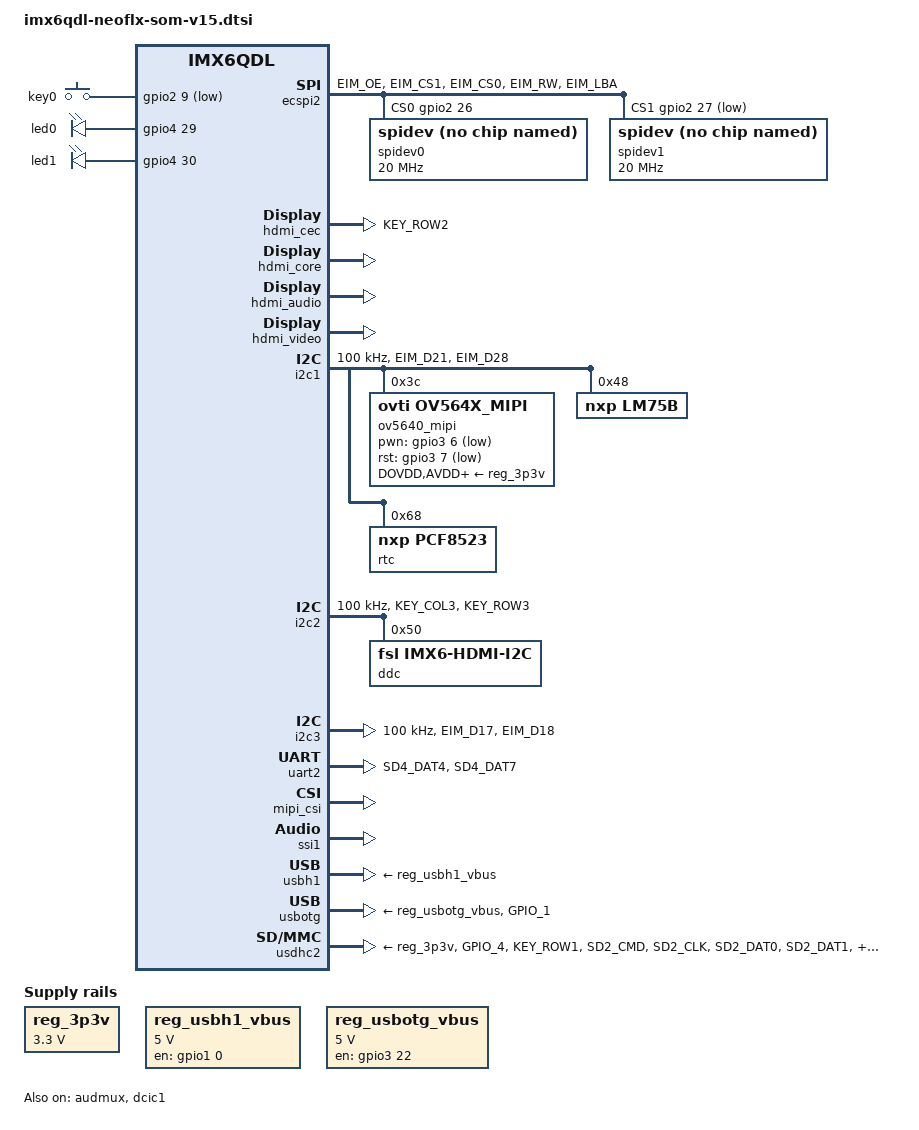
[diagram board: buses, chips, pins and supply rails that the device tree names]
/*
 * Copyright (C) 2016 Yoonki Kim
 *
 * Copyright 2016 MDS Technology co,ltd. All Rights Reserved.
 *
 * This file is dual-licensed: you can use it either under the terms
 * of the GPL or the X11 license, at your option. Note that this dual
 * licensing only applies to this file, and not this project as a
 * whole.
 *
 *  a) This file is free software; you can redistribute it and/or
 *     modify it under the terms of the GNU General Public License as
 *     published by the Free Software Foundation; either version 2 of the
 *     License.
 *
 *     This file is distributed in the hope that it will be useful
 *     but WITHOUT ANY WARRANTY; without even the implied warranty of
 *     MERCHANTABILITY or FITNESS FOR A PARTICULAR PURPOSE.  See the
 *     GNU General Public License for more details.
 *
 * Or, alternatively
 *
 *  b) Permission is hereby granted, free of charge, to any person
 *     obtaining a copy of this software and associated documentation
 *     files (the "Software"), to deal in the Software without
 *     restriction, including without limitation the rights to use
 *     copy, modify, merge, publish, distribute, sublicense, and/or
 *     sell copies of the Software, and to permit persons to whom the
 *     Software is furnished to do so, subject to the following
 *     conditions:
 *
 *     The above copyright notice and this permission notice shall be
 *     included in all copies or substantial portions of the Software.
 *
 *     THE SOFTWARE IS PROVIDED , WITHOUT WARRANTY OF ANY KIND
 *     EXPRESS OR IMPLIED, INCLUDING BUT NOT LIMITED TO THE WARRANTIES
 *     OF MERCHANTABILITY, FITNESS FOR A PARTICULAR PURPOSE AND
 *     NONINFRINGEMENT. IN NO EVENT SHALL THE AUTHORS OR COPYRIGHT
 *     HOLDERS BE LIABLE FOR ANY CLAIM, DAMAGES OR OTHER LIABILITY
 *     WHETHER IN AN ACTION OF CONTRACT, TORT OR OTHERWISE, ARISING
 *     FROM, OUT OF OR IN CONNECTION WITH THE SOFTWARE OR THE USE OR
 *     OTHER DEALINGS IN THE SOFTWARE.
 */
#include "imx6qdl-solidrun-microsom-v15.dtsi"
#include "imx6qdl-solidrun-microsom-ar8035.dtsi"
#include <dt-bindings/gpio/gpio.h>
#include <dt-bindings/input/input.h>

/ {
	aliases {
		mxcfb0 = &mxcfb1;
		//mxcfb1 = &mxcfb2;
	};

	chosen {
		stdout-path = &uart1;
	};

  gpio-keys {
    compatible = "gpio-keys";
    pinctrl-names = "default";
    pinctrl-0 = <&pinctrl_neoflx10_gpio_keys>;

    key0 {
      label = "key0";
      gpios = <&gpio2 9 GPIO_ACTIVE_LOW>;
      gpio-key,wakeup;
      linux,code = <KEY_FN>;
    };
  };

  leds {
    compatible = "gpio-leds";
    pinctrl-names = "default";
    pinctrl-0 = <&pinctrl_neoflx10_gpio_leds>;

    led0: led0 {
      label = "led0";
      gpios = <&gpio4 29 GPIO_ACTIVE_HIGH>;
      default-statue = "on";
      linux,default-trigger = "heartbeat";
    };

    led1: led1 {
      label = "led1";
      gpios = <&gpio4 30 GPIO_ACTIVE_HIGH>;
      default-state = "off";
    };
  };

	regulators {
		compatible = "simple-bus";

		reg_3p3v: 3p3v {
			compatible = "regulator-fixed";
			regulator-name = "3P3V";
			regulator-min-microvolt = <3300000>;
			regulator-max-microvolt = <3300000>;
			regulator-always-on;
		};

		reg_usbh1_vbus: usb-h1-vbus {
			compatible = "regulator-fixed";
			enable-active-high;
			gpio = <&gpio1 0 0>;
			pinctrl-names = "default";
			pinctrl-0 = <&pinctrl_neoflx10_usbh1_vbus>;
			regulator-name = "usb_h1_vbus";
			regulator-min-microvolt = <5000000>;
			regulator-max-microvolt = <5000000>;
		};

		reg_usbotg_vbus: usb-otg-vbus {
			compatible = "regulator-fixed";
			enable-active-high;
			gpio = <&gpio3 22 0>;
			pinctrl-names = "default";
			pinctrl-0 = <&pinctrl_neoflx10_usbotg_vbus>;
			regulator-name = "usb_otg_vbus";
			regulator-min-microvolt = <5000000>;
			regulator-max-microvolt = <5000000>;
		};
		
	};

	mxcfb1: fb@0 {
		compatible = "fsl,mxc_sdc_fb";
		disp_dev = "hdmi";
		interface_pix_fmt = "RGB24";
		mode_str ="1920x1080M@60";
		default_bpp = <24>;
		int_clk = <0>;
		late_init = <0>;
		status = "okay";
	};
/*
	mxcfb2: fb@1 {
		compatible = "fsl,mxc_sdc_fb";
		disp_dev = "ldb";
		interface_pix_fmt = "RGB666";
		default_bpp = <16>;
		int_clk = <0>;
		late_init = <0>;
		status = "okay";
	};
*/
	sound-hdmi {
		compatible = "fsl,imx6q-audio-hdmi",
				     "fsl,imx-audio-hdmi";
		model = "imx-audio-hdmi";
		hdmi-controller = <&hdmi_audio>;
	};

	v4l2_cap_0 {
		compatible = "fsl,imx6q-v4l2-capture";
		ipu_id = <0>;
		csi_id = <1>;
		mclk_source = <0>;
		//mipi_camera = <1>;
		//default_input = <1>;
		status = "okay";
	};

	v4l2_out {
		compatible = "fsl,mxc_v4l2_output";
		status = "okay";
	};
};

&audmux {
	status = "okay";
};

&dcic1 {
	dcic_id = <0>;
	dcic_mux = "dcic-hdmi";
	status = "okay";
};

&ecspi2 {
	fsl,spi-num-chipselects = <2>;
	cs-gpios = <&gpio2 26 0>, <&gpio2 27 1>;
	pinctrl-names = "default";
	pinctrl-0 = <&pinctrl_neoflx10_ecspi2>;
	status = "okay";

	spidev0: spi@0 {
		compatible = "spidev";
		reg = <0>;
		spi-max-frequency = <20000000>;
	};

	spidev1: spi@1 {
		compatible = "spidev";
		reg = <1>;
		spi-max-frequency = <20000000>;
	};
};

&gpc {
	fsl,cpu_pupscr_sw2iso = <0xf>;
	fsl,cpu_pupscr_sw = <0xf>;
	fsl,cpu_pdnscr_iso2sw = <0x1>;
	fsl,cpu_pdnscr_iso = <0x1>;
};

&hdmi_cec {
        pinctrl-names = "default";
        pinctrl-0 = <&pinctrl_neoflx10_hdmi>;
        status = "okay";
};

&hdmi_core {
	ipu_id = <0>;
	disp_id = <0>;
	status = "okay";
};

&hdmi_audio {
	status = "okay";
};

&hdmi_video {
	fsl,phy_reg_vlev = <0x0294>;
	fsl,phy_reg_cksymtx = <0x800d>;
	status = "okay";
};



&i2c1 {
	clock-frequency = <100000>;
	pinctrl-names = "default";
	pinctrl-0 = <&pinctrl_neoflx10_i2c1>;
	status = "okay";

	ov5640_mipi: ov5640_mipi@3c {
		compatible = "ovti,ov564x_mipi";
		reg = <0x3c>;
		pinctrl-names = "default";
		pinctrl-0 = <&pinctrl_neoflx10_mipi>;
		clocks = <&clks IMX6QDL_CLK_CKO2>;
		clock-names = "csi_mclk";

		DOVDD-supply = <&reg_3p3v>;
		AVDD-supply = <&reg_3p3v>;
		DVDD-supply = <&reg_3p3v>;

		pwn-gpios = <&gpio3 6 1>;
		rst-gpios = <&gpio3 7 1>;
		ipu_id = <0>;
		csi_id = <1>;
		mclk = <24000000>;
		mclk_source = <0>;
	};

	lm75b: lm75b@48 {
  		compatible = "nxp,lm75b";
		reg = <0x48>;
	};

	rtc: pcf8523@68 {
		compatible = "nxp,pcf8523";
		reg = <0x68>;
		nxp,12p5_pf;
	};
};

&i2c2 {
	clock-frequency = <100000>;
	pinctrl-names = "default";
	pinctrl-0 = <&pinctrl_neoflx10_i2c2>;
	status = "okay";

	ddc: imx6_hdmi_i2c@50 {
		compatible = "fsl,imx6-hdmi-i2c";
		reg = <0x50>;
	};
};

&i2c3 {
	clock-frequency = <100000>;
	pinctrl-names = "default";
	pinctrl-0 = <&pinctrl_neoflx10_i2c3>;
	status = "okay";
};

&uart2 {
  pinctrl-names = "default";
  pinctrl-0 = <&pinctrl_neoflx10_uart2>;
//fsl,uart-has-rtscts;
  status = "okay";
};

&iomuxc {
	pinctrl-names = "default";
	pinctrl-0 = <&pinctrl_hog>;

	neoflx10 {

	pinctrl_hog: hoggrp {
	  /*
	   * Notice the gpioX and GPIO (Y,Z) mapping forumla :
	   * X = (Y-1) * 32 + Z
	   */
	  fsl,pins = <
		MX6QDL_PAD_EIM_DA3__GPIO3_IO03 0x400130b1 /* LEPTON VSYNC */
		MX6QDL_PAD_EIM_DA4__GPIO3_IO04 0x4001b8b1 /* LEPTON RESET */
		MX6QDL_PAD_EIM_D27__GPIO3_IO27 0x400130b1 /* TEST POINT1 */
		MX6QDL_PAD_EIM_EB0__GPIO2_IO28 0x400130b1 /* TEST POINT2 */
		MX6QDL_PAD_SD4_DAT6__GPIO2_IO14 0x400130b1 /* UART2_CTS_B */
	  >;
	};

    pinctrl_neoflx10_ecspi2: neoflx10-ecspi2 {
      fsl,pins = <
        MX6QDL_PAD_EIM_OE__ECSPI2_MISO   0x100b1
        MX6QDL_PAD_EIM_CS1__ECSPI2_MOSI  0x100b1
        MX6QDL_PAD_EIM_CS0__ECSPI2_SCLK  0x100b1
        MX6QDL_PAD_EIM_RW__GPIO2_IO26    0x000b1 /* CS 0 */
        MX6QDL_PAD_EIM_LBA__GPIO2_IO27   0x100b1 /* CS 1 */
      >;
    };

    pinctrl_neoflx10_gpio_keys: neoflx10-gpio-keys {
      fsl,pins = <
        MX6QDL_PAD_SD4_DAT1__GPIO2_IO09 0x1b0b0
      >;
    };

	pinctrl_neoflx10_hdmi: neoflx10-hdmi {
	  fsl,pins = <
	    MX6QDL_PAD_KEY_ROW2__HDMI_TX_CEC_LINE 0x1f8b0
	  >;
	};

    pinctrl_neoflx10_gpio_leds: neoflx10-gpio-leds {
      fsl,pins = <
        MX6QDL_PAD_DISP0_DAT8__GPIO4_IO29 0x1b0b0
        MX6QDL_PAD_DISP0_DAT9__GPIO4_IO30 0x1b0b0
      >;
    };

    pinctrl_neoflx10_i2c1: neoflx10-i2c1 {
      fsl,pins = <
        MX6QDL_PAD_EIM_D21__I2C1_SCL 0x4001b8b1
        MX6QDL_PAD_EIM_D28__I2C1_SDA 0x4001b8b1
      >;
    };

    pinctrl_neoflx10_i2c2: neoflx10-i2c2 {
      fsl,pins = <
        MX6QDL_PAD_KEY_COL3__I2C2_SCL 0x4001b8b1
        MX6QDL_PAD_KEY_ROW3__I2C2_SDA 0x4001b8b1
      >;
    };

    pinctrl_neoflx10_i2c3: neoflx10-i2c3 {
      fsl,pins = <
        MX6QDL_PAD_EIM_D17__I2C3_SCL 0x4001b8b1
        MX6QDL_PAD_EIM_D18__I2C3_SDA 0x4001b8b1
      >;
    };

	pinctrl_neoflx10_mipi: neoflx10_mipi {
	  fsl,pins = <
		MX6QDL_PAD_EIM_DA5__GPIO3_IO05 0x4001b8b1	/* ov5640 powerdown */
		MX6QDL_PAD_EIM_DA7__GPIO3_IO07 0x4001b8b1	/* ov5640 reset */
		MX6QDL_PAD_NANDF_CS2__CCM_CLKO2 0x130b0		/* ov5640 mclk */
	  >;
	};

    pinctrl_neoflx10_uart2: neoflx10-uart2 {
      fsl,pins = <
        MX6QDL_PAD_SD4_DAT4__UART2_RX_DATA 0x1b0b1
        MX6QDL_PAD_SD4_DAT7__UART2_TX_DATA 0x1b0b1
        /*
		MX6QDL_PAD_SD4_DAT6__UART2_CTS_B   0x1b0b1 
        MX6QDL_PAD_SD4_DAT5__UART2_RTS_B   0x1b0b1
		*/
      >;
    };

	pinctrl_neoflx10_usbh1_vbus: neoflx10-usbh1-vbus {
	  fasl,pins = <MX6QDL_PAD_GPIO_0__GPIO1_IO00 0x1b0b0>;
	};

	pinctrl_neoflx10_usbotg_id: neoflx10-usbotg-id {
	  /*
	   * Similar to pinctrl_usbotg_2, but we want it
	   * pulled down for a fixed host connection.
	   */
	  fsl,pins = <MX6QDL_PAD_GPIO_1__USB_OTG_ID 0x13059>;
	};

	pinctrl_neoflx10_usbotg_vbus: neoflx10-usbotg-vbus {
  	  fsl,pins = <MX6QDL_PAD_EIM_D22__GPIO3_IO22 0x1b0b0>;
	};

	pinctrl_neoflx10_usdhc2_aux: neoflx10-usdhc2-aux {
	  fsl,pins = <
	    MX6QDL_PAD_GPIO_4__GPIO1_IO04    0x13071
		MX6QDL_PAD_KEY_ROW1__SD2_VSELECT 0x1b071
	  >;
	};

	pinctrl_neoflx10_usdhc2: neoflx10-usdhc2 {
	  fsl,pins = <
	    MX6QDL_PAD_SD2_CMD__SD2_CMD    0x17059
		MX6QDL_PAD_SD2_CLK__SD2_CLK    0x10059
		MX6QDL_PAD_SD2_DAT0__SD2_DATA0 0x17059
		MX6QDL_PAD_SD2_DAT1__SD2_DATA1 0x17059
		MX6QDL_PAD_SD2_DAT2__SD2_DATA2 0x17059
		MX6QDL_PAD_SD2_DAT3__SD2_DATA3 0x13059
	  >;
	};
  
	};
};

&mipi_csi {
	ipu_id = <0>;
	csi_id = <1>;
	v_channel = <0>;
	lanes = <2>;
	status = "okay";
};

&ssi1 {
	fsl,mode = "i2s-slave";
	status = "okay";
};

&usbh1 {
	disable-over-current;
	vbus-supply = <&reg_usbh1_vbus>;
	status = "okay";
};

&usbotg {
	disable-over-current;
	pinctrl-names = "default";
	pinctrl-0 = <&pinctrl_neoflx10_usbotg_id>;
	vbus-supply = <&reg_usbotg_vbus>;
	status = "okay";
};

&usdhc2 {
	pinctrl-names = "default";
	pinctrl-0 = <
		&pinctrl_neoflx10_usdhc2_aux
		&pinctrl_neoflx10_usdhc2
	>;
	vmmc-supply = <&reg_3p3v>;
	cd-gpios = <&gpio1 4 GPIO_ACTIVE_LOW>;
	status = "okay";
};
